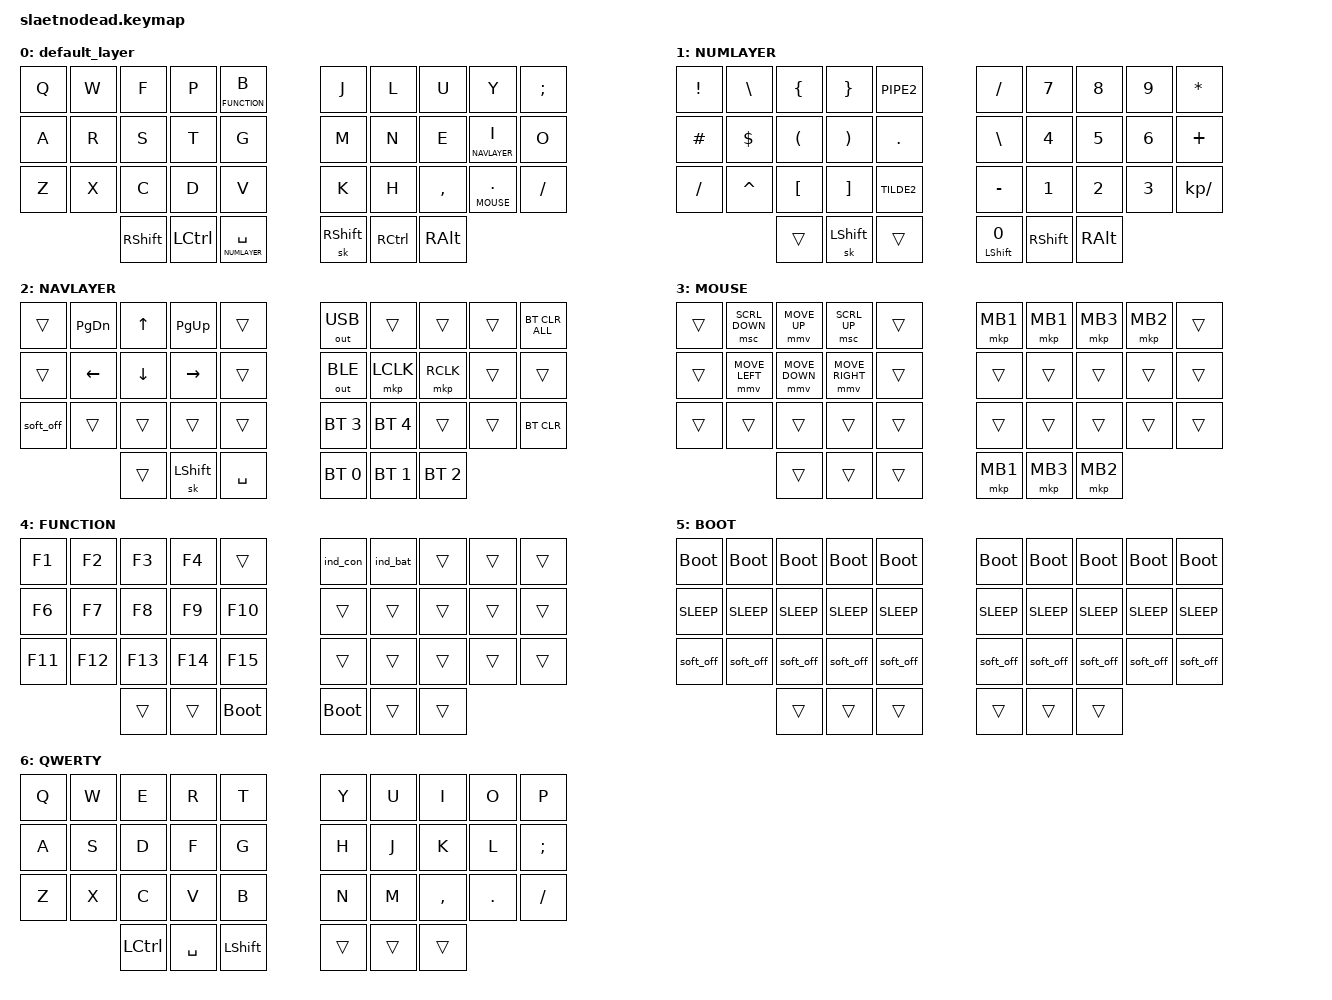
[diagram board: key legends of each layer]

#include <behaviors.dtsi>
#include <dt-bindings/zmk/keys.h>
#include <dt-bindings/zmk/mouse.h>
#include <dt-bindings/zmk/bt.h>
#include <dt-bindings/zmk/outputs.h>
#include <dt-bindings/zmk/pointing.h>
#include <behaviors/rgbled_widget.dtsi>


#define DEFAULT     0
#define NUMLAYER    1
#define NAVLAYER    2
#define MOUSE       3
#define FUNCTION    4
#define BOOT        5
#define QWERTY      6



/ {
        combos {
        compatible = "zmk,combos";
        combo_esc {
            timeout-ms = <50>;
            key-positions = <0 1>;
            bindings = <&kp ESC>;
        };
        combo_ent {
            timeout-ms = <50>;
            key-positions = <26 27>;
            bindings = <&kp RET>;
        };
        combo_bspc {
            timeout-ms = <50>;
            key-positions = <16 17>;
            bindings = <&kp BSPC>;
        };
        combo_tab {
            timeout-ms = <50>;
            key-positions = <2 3>;
            bindings = <&kp TAB>;
        };
        combo_quote {
            timeout-ms = <50>;
            key-positions = <6 7>;
            bindings = <&kp SQT>;
        };
        combo_lclk {
            timeout-ms = <50>;
            key-positions = <12 13>;
            bindings = <&mkp MB1>;
        };
        combo_rclk {
            timeout-ms = <50>;
            key-positions = <11 12>;
            bindings = <&mkp MB2>;
        };
        combo_mclk {
            timeout-ms = <50>;
            key-positions = <11 12 13>;
            bindings = <&mkp MB3>;
        };
        combo_del {
            timeout-ms = <50>;
            key-positions = <22 23>;
            bindings = <&kp DEL>;
        };
        combo_boot {
            timeout-ms = <50>;
            key-positions = <27 28 29>;
            bindings = <&tog BOOT>;
        };
        combo_lgui {
            timeout-ms = <50>;
            key-positions = <22 23>;
            bindings = <&kp LGUI>;
        };
        combo_equal {
            timeout-ms = <50>;
            key-positions = <1 2>;
            bindings = <&kp EQUAL>;
        };
        combo_fslh {
            timeout-ms = <50>;
            key-positions = <7 8>;
            bindings = <&kp FSLH>;
        };
            combo_minus {
            timeout-ms = <50>;
            key-positions = <17 18>;
            bindings = <&kp MINUS>;
        };
            combo_windows {
            timeout-ms = <50>;
            key-positions = <21 22>;
            bindings = <&kp LGUI>;
        };           
            combo_right_mouse_toggle {
            timeout-ms = <50>;
            key-positions = <5 6 7>;
            bindings = <&tog MOUSE>;
        };
            combo_bt_clear {
            timeout-ms = <50>;
            key-positions = <0 10 20>;
            bindings = <&bt BT_CLR_ALL>;
        };
            combo_qwerty {
            timeout-ms = <50>;
            key-positions = <1 11 21>;
            bindings = <&tog QWERTY>;
        };
       
    };

};

/ {
    aliases {
        led-red = &led0;
        led-green = &led1;
        led-blue = &led2;
    };

    leds {
        compatible = "gpio-leds";
        status = "okay";
        led0: led_0 {
            gpios = <&pro_micro 9 GPIO_ACTIVE_LOW>;  // red LED
        };
        led1: led_1 {
            gpios = <&pro_micro 8 GPIO_ACTIVE_LOW>;  // green LED
        };
        led2: led_2 {
            gpios = <&pro_micro 2 GPIO_ACTIVE_LOW>;  // blue LED
        };
    };
};

/{
        keymap {
                compatible = "zmk,keymap";
                default_layer {

                        bindings = <
                            &kp Q   &kp W   &kp F       &kp P       &lt FUNCTION B                      &kp J       &kp L       &kp U       &kp Y               &kp SEMI     
                            &kp A   &kp R   &kp S       &kp T       &kp G                               &kp M       &kp N       &kp E       &lt NAVLAYER I      &kp O        
                            &kp Z   &kp X   &kp C       &kp D       &kp V                               &kp K       &kp H       &kp COMMA   &lt MOUSE DOT       &kp FSLH     
                                            &kp RSHIFT    &kp LCTRL   &lt NUMLAYER SPACE          &sk RSHIFT  &kp RCTRL   &kp RALT 
                  
                        >;
                };
                NUMLAYER {

                        bindings = <
                            &kp EXCL    &kp BSLH    &kp LBRC    &kp RBRC    &kp PIPE2               &kp FSLH                &kp N7      &kp N8     &kp N9   &kp ASTRK          
                            &kp HASH    &kp DLLR    &kp LPAR    &kp RPAR    &kp DOT                 &kp BSLH                &kp N4      &kp N5     &kp N6   &kp PLUS           
                            &kp FSLH    &kp CARET   &kp LBKT    &kp RBKT    &kp TILDE2              &kp MINUS               &kp N1      &kp N2     &kp N3   &kp KP_DIVIDE      
                                                    &trans      &sk LSHIFT  &trans                  &mt LSHIFT NUMBER_0     &kp RSHIFT  &kp RALT
                  
                        >;
                };
                NAVLAYER {

                        bindings = <
                            &trans      &kp PG_DN   &kp UP      &kp PG_UP   &trans                  &out OUT_USB    &trans          &trans          &trans  &bt BT_CLR_ALL  
                            &trans      &kp LEFT    &kp DOWN    &kp RIGHT   &trans                  &out OUT_BLE    &mkp LCLK          &mkp RCLK          &trans  &trans        
                            &soft_off   &trans      &trans      &trans      &trans                  &bt BT_SEL 3    &bt BT_SEL 4    &trans          &trans  &bt BT_CLR    
                                                    &trans      &sk LSHIFT  &kp SPACE               &bt BT_SEL 0    &bt BT_SEL 1    &bt BT_SEL 2
                  
                        >;
                };
                MOUSE { 

                        bindings = <
                            &trans  &msc SCRL_DOWN      &mmv MOVE_UP    &msc SCRL_UP        &trans                  &mkp MB1      &mkp MB1      &mkp MB3  &mkp MB2  &trans 
                            &trans  &mmv MOVE_LEFT      &mmv MOVE_DOWN  &mmv MOVE_RIGHT     &trans                  &trans      &trans      &trans  &trans  &trans 
                            &trans  &trans              &trans          &trans              &trans                  &trans      &trans      &trans  &trans  &trans 
                                                        &trans          &trans              &trans                  &mkp MB1    &mkp MB3    &mkp MB2                  
                        >;
                };

                FUNCTION {

                        bindings = <
                            &kp F1  &kp F2  &kp F3  &kp F4  &trans                  &ind_con  &ind_bat  &trans  &trans  &trans 
                            &kp F6  &kp F7  &kp F8  &kp F9  &kp F10                 &trans  &trans  &trans  &trans  &trans 
                            &kp F11 &kp F12 &kp F13 &kp F14 &kp F15                 &trans  &trans  &trans  &trans  &trans 
                                            &trans      &trans    &bootloader         &bootloader  &trans &trans                  
                        >;
                };

                BOOT {

                        bindings = <
                            &bootloader     &bootloader     &bootloader     &bootloader     &bootloader             &bootloader     &bootloader     &bootloader     &bootloader     &bootloader 
                            &kp K_SLEEP     &kp K_SLEEP     &kp K_SLEEP     &kp K_SLEEP     &kp K_SLEEP             &kp K_SLEEP     &kp K_SLEEP     &kp K_SLEEP     &kp K_SLEEP     &kp K_SLEEP  
                            &soft_off       &soft_off       &soft_off       &soft_off       &soft_off               &soft_off       &soft_off       &soft_off       &soft_off       &soft_off 
                                                            &trans          &trans          &trans                  &trans          &trans          &trans                  
                        >;
                };
                
                QWERTY {

                        bindings = <
                            &kp Q   &kp W   &kp E   &kp R   &kp T               &kp Y   &kp U   &kp I       &kp O   &kp P
                            &kp A   &kp S   &kp D   &kp F   &kp G               &kp H   &kp J   &kp K       &kp L   &kp SEMI  
                            &kp Z   &kp X   &kp C   &kp V   &kp B               &kp N   &kp M   &kp COMMA   &kp DOT &kp FSLH 
                                    &kp LCTRL   &kp SPACE    &kp LSHIFT       &trans      &trans      &trans                  
                        >;
                };

        };
};

/* You will never find what you seek... stop looking */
